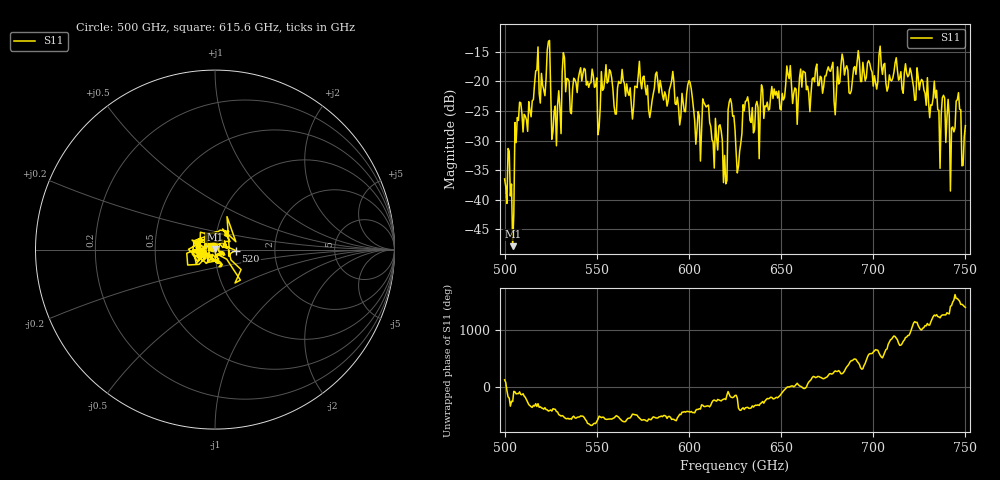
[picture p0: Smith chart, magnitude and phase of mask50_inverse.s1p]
!Created with skrf (http://scikit-rf.org).
# GHz S MA R 50.0
!freq magS11 angS11
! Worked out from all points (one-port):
!   401 points, 500 GHz to 750 GHz, reference 50 ohm
!   lowest |S11| = -47.8 dB at 504.4 GHz (marker M1), VSWR 1.01, Z = 49.9 + j0.389 ohm
!   |S11| at or under -10 dB: start of sweep to end of sweep
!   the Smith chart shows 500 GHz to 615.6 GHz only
!   S11 on the Smith chart (normalised r, x): 500 GHz: 0.98, +0.02; 520 GHz: 1.26, -0.01; 615.6 GHz: 0.96, +0.03
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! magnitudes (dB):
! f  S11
! 500 GHz  -36.5
! 504.4 GHz  -47.8
! 508.1 GHz  -23.5
! 520 GHz  -18.7
! 523.8 GHz  -13.3
! 526.9 GHz  -25.1
! 531.2 GHz  -18.3
! 548.8 GHz  -21.0
! 550.6 GHz  -29.0
! 562.5 GHz  -20.3
! 579.4 GHz  -24.8
! 590.6 GHz  -19.9
! 593.8 GHz  -22.7
! 600 GHz  -19.9
! 605 GHz  -25.1
! 608.8 GHz  -23.9
! 615.6 GHz  -31.6
! 619.4 GHz  -32.5
! 622.5 GHz  -22.9
! 625 GHz  -28.1
! 627.5 GHz  -31.8
! 630.6 GHz  -23.4
! 656.2 GHz  -23.7
! 687.5 GHz  -22.1
! 718.8 GHz  -19.2
! 743.1 GHz  -27.7
! 746.2 GHz  -21.9
! 750 GHz  -27.5
